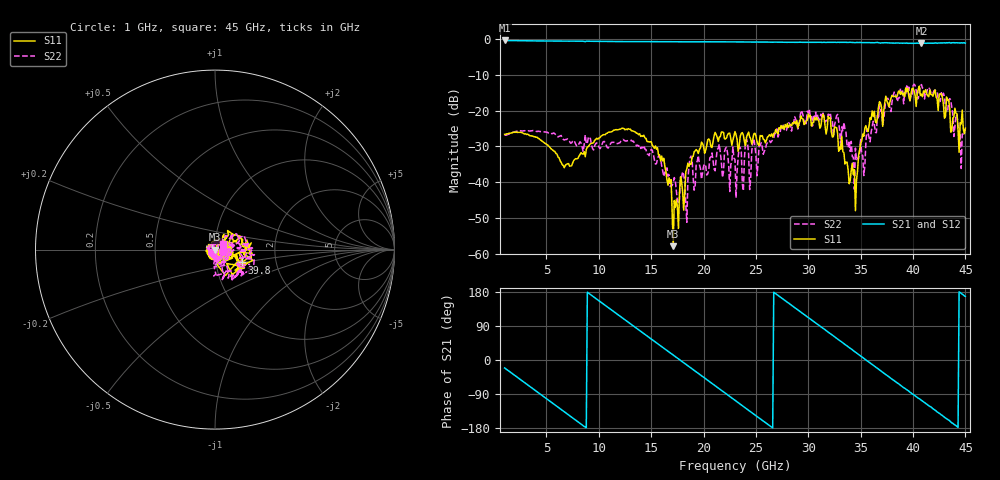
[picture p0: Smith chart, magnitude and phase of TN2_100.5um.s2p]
!Keysight Technologies,N5247B,MY61255062,A.19.80.06
!Date: Monday, May 18, 2026 12:53:54
!Correction: S11(Cdelta 2-Port  )
!S21(Cdelta 2-Port  )
!S12(Cdelta 2-Port  )
!S22(Cdelta 2-Port  )
!S2P File: Measurements: S11, S21, S12, S22:
# Hz S  dB  R 50
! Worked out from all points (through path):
!   441 points, 1 GHz to 45 GHz, reference 50 ohm
!   highest |S21| = -0.41 dB at 1 GHz (marker M1); lowest = -1.2 dB at 40.8 GHz (marker M2)
!   group delay of S21, straight-line fit = 56.2 ps
!   lowest |S11| = -57.8 dB at 17.1 GHz (marker M3), VSWR 1.00, Z = 49.9 - j0.0445 ohm
!   |S11| at or under -10 dB: start of sweep to end of sweep
!   |S22| runs from -51.1 to -12.6 dB; largest |S21 - S12| = 0.023
!   S11 on the Smith chart (normalised r, x): 1 GHz: 1.10, -0.02; 39.8 GHz: 1.34, -0.20; 45 GHz: 1.10, +0.06
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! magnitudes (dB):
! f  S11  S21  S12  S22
! 1 GHz  -26.6  -0.4  -0.4  -26.9
! 4.1 GHz  -27.4  -0.5  -0.5  -25.8
! 6.7 GHz  -35.9  -0.6  -0.6  -28.2
! 8.4 GHz  -32.0  -0.6  -0.6  -30.1
! 12.2 GHz  -24.9  -0.7  -0.7  -28.2
! 15.7 GHz  -32.4  -0.7  -0.7  -32.7
! 17.1 GHz  -57.8  -0.8  -0.8  -40.0
! 18.3 GHz  -37.1  -0.8  -0.8  -46.1
! 18.7 GHz  -34.8  -0.8  -0.8  -33.3
! 19.1 GHz  -31.5  -0.8  -0.8  -42.2
! 21.4 GHz  -28.6  -0.8  -0.8  -30.6
! 23 GHz  -25.8  -0.8  -0.8  -33.6
! 30.4 GHz  -23.5  -0.9  -0.9  -24.3
! 32.7 GHz  -24.7  -1.0  -1.0  -21.4
! 34.5 GHz  -47.9  -1.0  -1.0  -30.5
! 35.3 GHz  -27.1  -1.0  -1.0  -38.1
! 37.7 GHz  -18.9  -1.1  -1.1  -17.3
! 39.8 GHz  -15.5  -1.2  -1.2  -15.8
! 40.8 GHz  -15.4  -1.2  -1.2  -12.7
! 43.6 GHz  -26.0  -1.2  -1.0  -17.0
! 44.6 GHz  -23.7  -1.0  -1.1  -36.1
! 45 GHz  -24.9  -1.2  -1.1  -25.2
